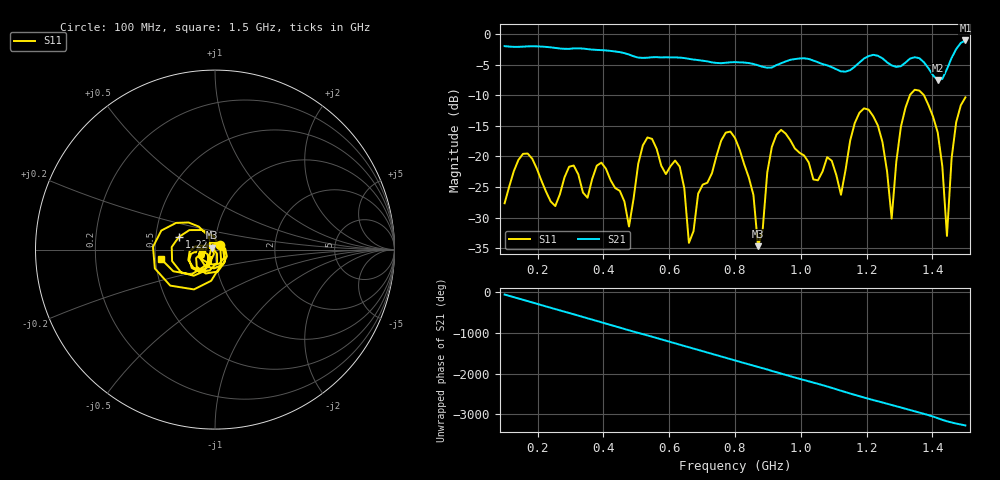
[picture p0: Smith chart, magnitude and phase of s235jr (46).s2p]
! NanoVNA-App
! Date: 2025-09-26 09:45:09
! Start: 100MHz Stop: 1,5GHz Points: 101
! S-Parameter data: F S11 S21 S12 S22
# Hz S RI R 50
!  Frequency  S11_Real  S11_Imag  S21_Real  S21_Imag  S12_Real  S12_Imag  S22_Real  S22_Imag
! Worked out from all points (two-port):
!   101 points, 100 MHz to 1.5 GHz, reference 50 ohm
!   highest |S21| = -1.03 dB at 1.5 GHz (marker M1); lowest = -7.5 dB at 1.416 GHz (marker M2)
!   |S21| within 3 dB of the highest: start of sweep to 659.1 MHz; 1.191 GHz to 1.25 GHz (58.57 MHz wide, 4.8 % of centre)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
!   lowest |S11| = -34.7 dB at 870 MHz (marker M3), VSWR 1.04, Z = 48.5 + j1.01 ohm
!   |S11| at or under -10 dB: start of sweep to 1.331 GHz; 1.374 GHz to end of sweep
!   S12 and S22 are empty: the file has one direction only
!   S11 on the Smith chart (normalised r, x): 100 MHz: 1.06, +0.06; 1.22 GHz: 0.66, +0.10; 1.5 GHz: 0.54, -0.06
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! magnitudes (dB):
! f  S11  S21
! 100 MHz  -27.6  -2.0
! 156 MHz  -19.6  -2.0
! 338 MHz  -25.9  -2.4
! 394 MHz  -21.0  -2.6
! 478 MHz  -31.5  -3.3
! 520 MHz  -18.2  -3.9
! 576 MHz  -21.5  -3.8
! 632 MHz  -21.7  -3.8
! 660 MHz  -34.1  -4.0
! 800 MHz  -17.0  -4.6
! 870 MHz  -34.7  -5.1
! 926 MHz  -16.4  -5.1
! 1.038 GHz  -23.7  -4.3
! 1.122 GHz  -26.3  -6.1
! 1.164 GHz  -14.5  -5.3
! 1.22 GHz  -13.4  -3.4
! 1.276 GHz  -30.2  -5.1
! 1.332 GHz  -9.9  -4.0
! 1.416 GHz  -16.1  -7.5
! 1.444 GHz  -33.0  -5.7
! 1.472 GHz  -14.4  -2.4
! 1.5 GHz  -10.3  -1.0
